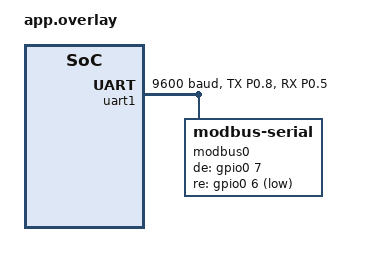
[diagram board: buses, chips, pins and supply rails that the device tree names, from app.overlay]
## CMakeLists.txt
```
# SPDX-License-Identifier: Apache-2.0

cmake_minimum_required(VERSION 3.20.0)

find_package(Zephyr REQUIRED HINTS $ENV{ZEPHYR_BASE})
project(Modbus)

FILE(GLOB app_sources src/*.c)
target_sources(app PRIVATE ${app_sources})
```

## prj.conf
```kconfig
CONFIG_CONSOLE=y
CONFIG_LOG=y

CONFIG_MODBUS=y
CONFIG_MODBUS_ROLE_CLIENT=y
CONFIG_UART_INTERRUPT_DRIVEN=y
```

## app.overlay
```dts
&pinctrl {
	uart1_default: uart1_default {
		group1 {
			psels = <NRF_PSEL(UART_TX, 0, 8)>;
		};
		group2 {
			psels = <NRF_PSEL(UART_RX, 0, 5)>;
					bias-pull-up;
		};
	};

	uart1_sleep: uart1_sleep {
		group1 {
			psels = <NRF_PSEL(UART_TX, 0, 8)>,
					<NRF_PSEL(UART_RX, 0, 5)>;
					low-power-enable;
		};
	};

};

&uart1 {
	status = "okay";
	current-speed = <9600>;
	pinctrl-0 = <&uart1_default>;
	pinctrl-1 = <&uart1_sleep>;
	pinctrl-names = "default", "sleep";
	modbus0 {
		compatible = "zephyr,modbus-serial";
		status = "okay";
		de-gpios = <&gpio0 7 GPIO_ACTIVE_HIGH>;
		re-gpios = <&gpio0 6 GPIO_ACTIVE_LOW>;
	};
};
```

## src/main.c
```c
#include <stdio.h>
#include <string.h>
#include <zephyr/device.h>
#include <zephyr/kernel.h>
#include <zephyr/logging/log.h>
#include <zephyr/modbus/modbus.h>

LOG_MODULE_REGISTER(main);

//#define USE_WORK_FUNCTION

static int iface;

static struct k_work_delayable sensor_work;

int modbus_read_sensor(uint8_t dev_addr, uint16_t dev_register);

struct modbus_iface_param client_param = {
	.mode = MODBUS_MODE_RTU,
	.rx_timeout = 50000,
	.serial = {
		.baud = 4800,
		.parity = UART_CFG_PARITY_NONE,
		.stop_bits_client = UART_CFG_STOP_BITS_1,
	},
};

void sensor_work_function(struct k_work *work)
{
	LOG_INF("Data = %d, %d", modbus_read_sensor(1, 1), modbus_read_sensor(1, 0));
	k_work_schedule(&sensor_work, K_MSEC(1000));
}

int modbus_init(uint32_t baud)
{
	int ret;
	
	const char iface_name[] = {DEVICE_DT_NAME(DT_COMPAT_GET_ANY_STATUS_OKAY(zephyr_modbus_serial))};

	client_param.serial.baud = baud;

	LOG_INF("Initialising Modbus to %d baud", client_param.serial.baud);

	iface = modbus_iface_get_by_name(iface_name);

	ret = modbus_init_client(iface, client_param);
	if (ret != 0) {
		LOG_ERR("Modbus RTU client initialization failed");
	}

#ifdef USE_WORK_FUNCTION
	k_work_init_delayable(&sensor_work, sensor_work_function);
	k_work_schedule(&sensor_work, K_SECONDS(2));
#endif
}

int modbus_read_sensor(uint8_t dev_addr, uint16_t dev_register)
{
	uint16_t reg[1] = { 0 };

	int err;

	err = modbus_read_holding_regs(iface, dev_addr, dev_register, reg, ARRAY_SIZE(reg));
	if (err != 0) {
		LOG_ERR("FC01 failed with %d", err);
		return 0;
	}
	
	return reg[0];
}

int main(void)
{
	LOG_INF("Zephyr Modbus Example\nBoard: %s", CONFIG_BOARD);

	modbus_init(4800);

	while (1) {
#ifndef USE_WORK_FUNCTION
	LOG_INF("Data = %d, %d", modbus_read_sensor(1, 1), modbus_read_sensor(1, 0));
#endif
		k_sleep(K_SECONDS(1));
	}
}
```
